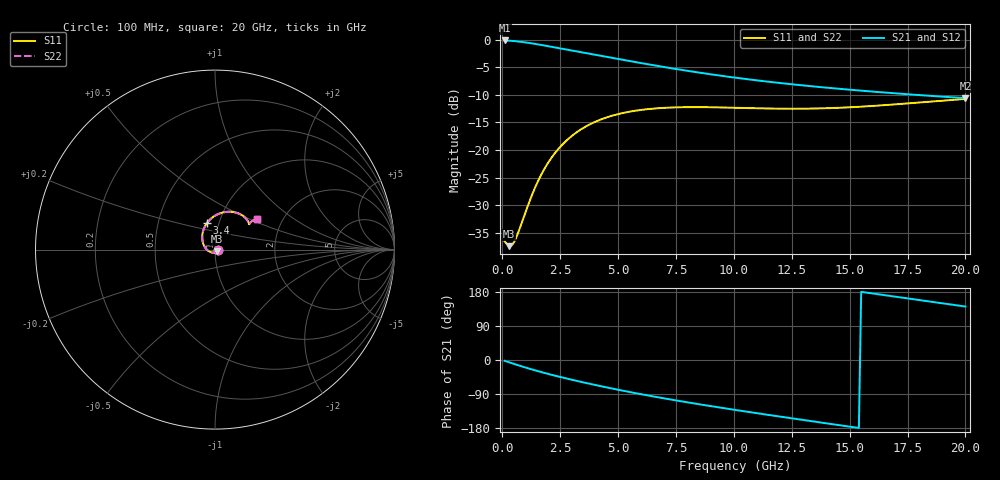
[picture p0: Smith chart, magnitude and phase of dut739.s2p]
! Touchstone file exported from HFSS 2024.1.0
!  File:  C:/UserFiles/LocalFiles/RDL_TSV_Batchsim/temp_RDL_TSV_739_1779894940.aedt
!  Generated:  11:31:23 PM May 27, 2026
!  Design:  RDL_TSV
!  Project:  temp_RDL_TSV_739_1779894940
!  Setup:  Setup1
!  Solution:  Sweep
! Variables:
!  dtsv = 11.07um
!  hbump = 3um
!  htsv = 94.67um
!  ldown = 536.19um
!  lrdl = 335.35um
!  p = 40
!  p1 = 56.66um
!  rhole = 10um
!  subl = 2949.97um
!  t = 450um
!  tdown = 2.08um
!  trdl = 4.87um
!  viad = 10um
!  wdown = 25.55um
!  wrdl = 28.21um
!  xbump = 18um
# GHz S MA R 50.000000
! Terminal data exported
! Port[1] = TM1_1_T1
! Port[2] = TM1_4_T1
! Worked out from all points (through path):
!   200 points, 100 MHz to 20 GHz, reference 50 ohm
!   highest |S21| = -0.14 dB at 100 MHz (marker M1); lowest = -10.6 dB at 20 GHz (marker M2)
!   group delay of S21, straight-line fit = 28.5 ps
!   lowest |S11| = -37.4 dB at 300 MHz (marker M3), VSWR 1.03, Z = 51 - j0.913 ohm
!   |S11| at or under -10 dB: start of sweep to end of sweep
!   |S22| runs from -37.5 to -10.8 dB; largest |S21 - S12| = 3.4e-14
!   S11 on the Smith chart (normalised r, x): 100 MHz: 1.03, -0.01; 3.4 GHz: 0.88, +0.26; 20 GHz: 1.50, +0.55
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0.1  0.01492 -11.0  0.9844 -2.1  0.9844 -2.1  0.01492 -11.0
! Gamma 0 0 0 0
! Port Impedance 50 0 50 0
0.3  0.01346 -41.7  0.9798 -6.2  0.9798 -6.2  0.01334 -41.2
0.4  0.01361 -60.5  0.9765 -8.2  0.9765 -8.2  0.0134 -60.4
0.5  0.01454 -78.8  0.9725 -10.2  0.9725 -10.2  0.01435 -79.3
0.7  0.01817 -110.6  0.963 -14.2  0.963 -14.2  0.01817 -111.1
1.3  0.04001 -172.1  0.9246 -25.3  0.9246 -25.3  0.04002 -172.1
1.6  0.05537 169.0  0.9024 -30.5  0.9024 -30.5  0.05532 169.1
1.9  0.07217 154.2  0.8796 -35.4  0.8796 -35.4  0.07208 154.2
2.2  0.08953 142.0  0.8568 -40.2  0.8568 -40.2  0.08939 142.0
2.6  0.1124 128.4  0.8271 -46.2  0.8271 -46.2  0.1122 128.4
3.4  0.154 107.1  0.7705 -57.7  0.7705 -57.7  0.1537 107.1
3.5  0.1587 104.8  0.7637 -59.1  0.7637 -59.1  0.1584 104.8
4.2  0.1873 90.9  0.7179 -68.4  0.7179 -68.4  0.1869 90.8
4.9  0.2091 79.5  0.6749 -77.3  0.6749 -77.3  0.2087 79.4
5.8  0.2282 67.7  0.6241 -88.0  0.6241 -88.0  0.2277 67.7
6.8  0.2399 57.7  0.5739 -99.2  0.5739 -99.2  0.2393 57.6
8.4  0.245 46.5  0.5069 -115.8  0.5069 -115.8  0.2443 46.5
10.1  0.2415 39.8  0.4517 -132.1  0.4517 -132.1  0.2408 39.8
11.7  0.2376 37.1  0.4114 -146.7  0.4114 -146.7  0.2368 37.1
13.4  0.2377 36.7  0.3777 -161.9  0.3777 -161.9  0.237 36.6
16.7  0.257 37.6  0.3298 169.4  0.3298 169.4  0.2563 37.6
20  0.2906 35.7  0.2953 141.1  0.2953 141.1  0.29 35.7
